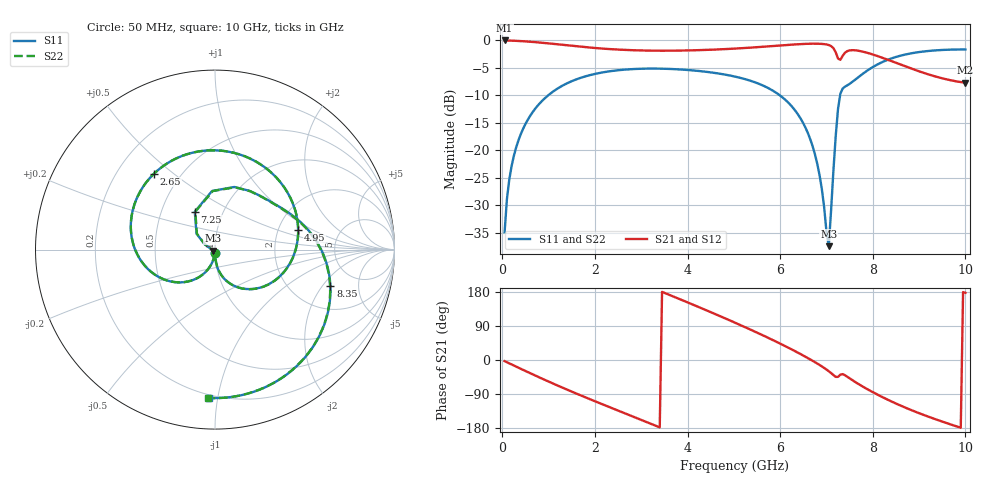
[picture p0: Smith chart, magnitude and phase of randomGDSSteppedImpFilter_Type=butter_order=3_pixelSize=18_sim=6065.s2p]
! freq	dB(S11)	phase(S11)	dB(S12)	phase(S12)
!  dB(S21)	phase(S21)	dB(S22)	phase(S22)
!S-par simulation data
#  GHz  S  DB  R 50
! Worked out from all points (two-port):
!   200 points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, 50 MHz to 10 GHz, reference 50 ohm
!   highest |S21| = -0.01 dB at 50 MHz (marker M1); lowest = -7.7 dB at 10 GHz (marker M2)
!   |S21| within 3 dB of the highest: start of sweep to 7.237 GHz; 7.336 GHz to 8.158 GHz (822.5 MHz wide, 10.6 % of centre)
!   lowest |S11| = -37.4 dB at 7.05 GHz (marker M3), VSWR 1.03, Z = 48.8 - j0.572 ohm
!   |S11| at or under -10 dB: start of sweep to 989.3 MHz; 5.995 GHz to 7.295 GHz (1.3 GHz wide, 19.6 % of centre)
!   |S22| runs from -38.1 to -1.6 dB; largest |S21 - S12| = 0
!   S11 on the Smith chart (normalised r, x): 50 MHz: 1.00, -0.04; 2.65 GHz: 0.36, +0.43; 4.95 GHz: 2.57, +0.74; 7.25 GHz: 0.74, +0.33; 8.35 GHz: 3.26, -2.39; 10 GHz: 0.18, -0.94
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0.05  -34.87 -92.6  -0.01 -3.0  -0.01 -3.0  -34.87 -92.6
0.2  -22.89 -102.0  -0.04 -11.7  -0.04 -11.7  -22.89 -102.0
0.5  -15.21 -119.5  -0.18 -29.0  -0.18 -29.0  -15.21 -119.5
1.1  -9.28 -152.9  -0.63 -62.3  -0.63 -62.3  -9.28 -153.0
1.75  -6.65 173.2  -1.19 -96.3  -1.19 -96.3  -6.65 173.1
2.65  -5.31 128.7  -1.73 -140.8  -1.73 -140.8  -5.31 128.5
3.4  -5.14 92.0  -1.87 -177.7  -1.87 -177.7  -5.14 91.7
4.15  -5.48 54.6  -1.79 144.5  -1.79 144.5  -5.48 54.3
4.95  -6.45 13.4  -1.52 102.6  -1.52 102.6  -6.44 13.1
5.05  -6.63 8.2  -1.48 97.2  -1.48 97.2  -6.63 7.9
5.85  -9.18 -35.1  -1.02 52.2  -1.02 52.2  -9.17 -35.3
6.35  -13.05 -63.2  -0.71 21.5  -0.71 21.5  -13.04 -63.2
6.7  -19.22 -81.4  -0.60 -2.0  -0.60 -2.0  -19.20 -80.9
6.9  -27.03 -88.7  -0.63 -16.8  -0.63 -16.8  -26.96 -87.1
7.05  -37.43 -154.1  -0.84 -29.6  -0.84 -29.6  -38.07 -149.9
7.25  -12.43 118.1  -3.30 -44.6  -3.30 -44.6  -12.46 117.4
7.35  -8.75 72.8  -2.80 -37.2  -2.80 -37.2  -8.75 72.1
7.55  -7.60 38.0  -1.77 -52.6  -1.77 -52.6  -7.60 37.3
7.9  -5.38 10.4  -2.30 -78.2  -2.30 -78.2  -5.38 9.9
8.35  -3.44 -17.3  -3.60 -106.4  -3.60 -106.4  -3.44 -17.8
9.2  -1.92 -59.7  -6.18 -149.5  -6.18 -149.5  -1.92 -60.0
10  -1.65 -92.4  -7.70 177.2  -7.70 177.2  -1.65 -92.7
